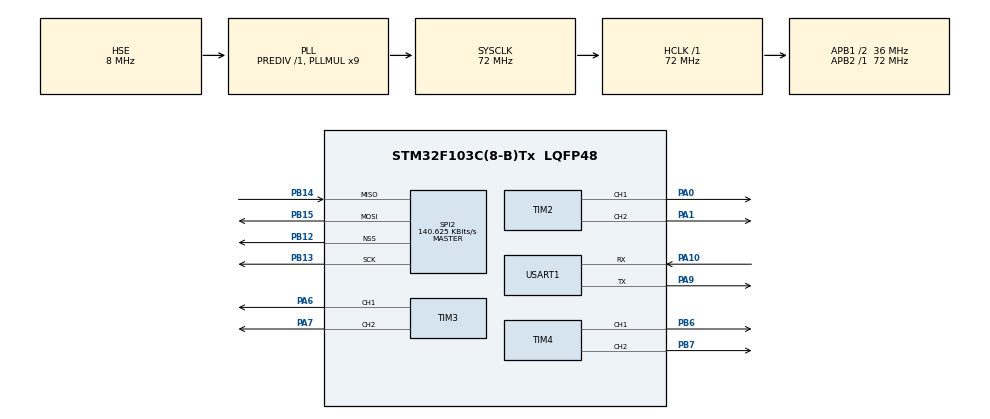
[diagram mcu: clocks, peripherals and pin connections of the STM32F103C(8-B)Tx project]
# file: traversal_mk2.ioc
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Dma.Request0=USART1_RX
Dma.USART1_RX.0.Direction=DMA_PERIPH_TO_MEMORY
Dma.USART1_RX.0.Instance=DMA1_Channel5
Dma.USART1_RX.0.MemDataAlignment=DMA_MDATAALIGN_BYTE
Dma.USART1_RX.0.MemInc=DMA_MINC_ENABLE
Dma.USART1_RX.0.Mode=DMA_CIRCULAR
Dma.USART1_RX.0.PeriphDataAlignment=DMA_PDATAALIGN_BYTE
Dma.USART1_RX.0.PeriphInc=DMA_PINC_DISABLE
Dma.USART1_RX.0.Priority=DMA_PRIORITY_LOW
Mcu.Family=STM32F1
Mcu.Name=STM32F103C(8-B)Tx
Mcu.Package=LQFP48
NVIC.DMA1_Channel5_IRQn=true\:0\:0\:false\:false\:true\:false\:true\:true
NVIC.PriorityGroup=NVIC_PRIORITYGROUP_4
PA0-WKUP.Signal=S_TIM2_CH1_ETR
PA1.Signal=S_TIM2_CH2
PA10.Mode=Asynchronous
PA10.Signal=USART1_RX
PA13.Mode=Serial_Wire
PA13.Signal=SYS_JTMS-SWDIO
PA14.Mode=Serial_Wire
PA14.Signal=SYS_JTCK-SWCLK
PA6.Signal=S_TIM3_CH1
PA7.Signal=S_TIM3_CH2
PA9.Mode=Asynchronous
PA9.Signal=USART1_TX
PB12.Mode=NSS_Signal_Hard_Output
PB12.Signal=SPI2_NSS
PB13.Mode=Full_Duplex_Master
PB13.Signal=SPI2_SCK
PB14.Mode=Full_Duplex_Master
PB14.Signal=SPI2_MISO
PB15.Mode=Full_Duplex_Master
PB15.Signal=SPI2_MOSI
PB6.Signal=S_TIM4_CH1
PB7.Signal=S_TIM4_CH2
PD0-OSC_IN.Mode=HSE-External-Oscillator
PD0-OSC_IN.Signal=RCC_OSC_IN
PD1-OSC_OUT.Mode=HSE-External-Oscillator
PD1-OSC_OUT.Signal=RCC_OSC_OUT
ProjectManager.HeapSize=0x200
ProjectManager.StackSize=0x400
ProjectManager.TargetToolchain=STM32CubeIDE
RCC.AHBFreq_Value=72000000
RCC.APB1CLKDivider=RCC_HCLK_DIV2
RCC.APB1Freq_Value=36000000
RCC.APB1TimFreq_Value=72000000
RCC.APB2Freq_Value=72000000
RCC.APB2TimFreq_Value=72000000
RCC.HCLKFreq_Value=72000000
RCC.PLLMUL=RCC_PLL_MUL9
RCC.PLLSourceVirtual=RCC_PLLSOURCE_HSE
RCC.SYSCLKFreq_VALUE=72000000
RCC.SYSCLKSource=RCC_SYSCLKSOURCE_PLLCLK
RCC.USBFreq_Value=72000000
SH.S_TIM2_CH1_ETR.0=TIM2_CH1,PWM Generation1 CH1
SH.S_TIM2_CH2.0=TIM2_CH2,PWM Generation2 CH2
SH.S_TIM3_CH1.0=TIM3_CH1,PWM Generation1 CH1
SH.S_TIM3_CH2.0=TIM3_CH2,PWM Generation2 CH2
SH.S_TIM4_CH1.0=TIM4_CH1,PWM Generation1 CH1
SH.S_TIM4_CH2.0=TIM4_CH2,PWM Generation2 CH2
SPI2.BaudRatePrescaler=SPI_BAUDRATEPRESCALER_256
SPI2.CalculateBaudRate=140.625 KBits/s
SPI2.DataSize=SPI_DATASIZE_16BIT
SPI2.Direction=SPI_DIRECTION_2LINES
SPI2.Mode=SPI_MODE_MASTER
SPI2.VirtualNSS=VM_NSSHARD
SPI2.VirtualType=VM_MASTER
TIM2.Channel-PWM\ Generation1\ CH1=TIM_CHANNEL_1
TIM2.Channel-PWM\ Generation2\ CH2=TIM_CHANNEL_2
TIM3.Channel-PWM\ Generation1\ CH1=TIM_CHANNEL_1
TIM3.Channel-PWM\ Generation2\ CH2=TIM_CHANNEL_2
TIM4.Channel-PWM\ Generation1\ CH1=TIM_CHANNEL_1
TIM4.Channel-PWM\ Generation2\ CH2=TIM_CHANNEL_2
USART1.VirtualMode=VM_ASYNC
VP_TIM2_VS_ClockSourceINT.Mode=Internal
VP_TIM3_VS_ClockSourceINT.Mode=Internal
VP_TIM4_VS_ClockSourceINT.Mode=Internal
board=custom

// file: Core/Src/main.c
/* USER CODE BEGIN Header */
/**
  ******************************************************************************
  * @file           : main.c
  * @brief          : Main program body
  ******************************************************************************
  * @attention
  *
  * Copyright (c) 2026 STMicroelectronics.
  * All rights reserved.
  *
  * This software is licensed under terms that can be found in the LICENSE file
  * in the root directory of this software component.
  * If no LICENSE file comes with this software, it is provided AS-IS.
  *
  ******************************************************************************
  */
/* USER CODE END Header */
#include "main.h"

SPI_HandleTypeDef hspi2;

TIM_HandleTypeDef htim2;
TIM_HandleTypeDef htim3;
TIM_HandleTypeDef htim4;

UART_HandleTypeDef huart1;
DMA_HandleTypeDef hdma_usart1_rx;

/* USER CODE BEGIN PV */
volatile uint16_t SPI_enc0rxBuffer[3] = {0};
volatile uint16_t SPI_enc1rxBuffer[3] = {0};
volatile uint8_t rxBuf[4];

volatile uint8_t UART1_rxBuffer[4] = {0};
volatile uint8_t uart_rx_dma[4];
volatile uint8_t motor_cmd[4];
/* USER CODE END PV */

void SystemClock_Config(void);
static void MX_GPIO_Init(void);
static void MX_DMA_Init(void);
static void MX_SPI2_Init(void);
static void MX_TIM2_Init(void);
static void MX_TIM3_Init(void);
static void MX_TIM4_Init(void);
static void MX_USART1_UART_Init(void);

/* USER CODE BEGIN 0 */
void setMotor(uint8_t joystick[2]) {
    int x = (int)joystick[0] - 127;
    int y = (int)joystick[1] - 127;

    int speed;

    if (abs(y) > abs(x)) {
        // forward / backward
        speed = 2 * abs(y);

        if (y > 0) {
            // FORWARD
            HAL_GPIO_WritePin(GPIOB, GPIO_PIN_3, GPIO_PIN_RESET);
            HAL_GPIO_WritePin(GPIOB, GPIO_PIN_4, GPIO_PIN_RESET);
            HAL_GPIO_WritePin(GPIOB, GPIO_PIN_5, GPIO_PIN_RESET);

            HAL_GPIO_WritePin(GPIOB, GPIO_PIN_1, GPIO_PIN_RESET);
            HAL_GPIO_WritePin(GPIOB, GPIO_PIN_10, GPIO_PIN_RESET);
            HAL_GPIO_WritePin(GPIOB, GPIO_PIN_11, GPIO_PIN_RESET);
        } else {
            // BACKWARD
            HAL_GPIO_WritePin(GPIOB, GPIO_PIN_3, GPIO_PIN_SET);
            HAL_GPIO_WritePin(GPIOB, GPIO_PIN_4, GPIO_PIN_SET);
            HAL_GPIO_WritePin(GPIOB, GPIO_PIN_5, GPIO_PIN_SET);

            HAL_GPIO_WritePin(GPIOB, GPIO_PIN_1, GPIO_PIN_SET);
            HAL_GPIO_WritePin(GPIOB, GPIO_PIN_10, GPIO_PIN_SET);
            HAL_GPIO_WritePin(GPIOB, GPIO_PIN_11, GPIO_PIN_SET);
        }

    } else if (abs(x) > abs(y)) {
        // rotation
        speed = 2 * abs(x);

        if (x > 0) {
            // rotate right
            HAL_GPIO_WritePin(GPIOB, GPIO_PIN_3, GPIO_PIN_RESET);
            HAL_GPIO_WritePin(GPIOB, GPIO_PIN_4, GPIO_PIN_RESET);
            HAL_GPIO_WritePin(GPIOB, GPIO_PIN_5, GPIO_PIN_RESET);

            HAL_GPIO_WritePin(GPIOB, GPIO_PIN_1, GPIO_PIN_SET);
            HAL_GPIO_WritePin(GPIOB, GPIO_PIN_10, GPIO_PIN_SET);
            HAL_GPIO_WritePin(GPIOB, GPIO_PIN_11, GPIO_PIN_SET);
        } else {
            // rotate left
            HAL_GPIO_WritePin(GPIOB, GPIO_PIN_3, GPIO_PIN_SET);
            HAL_GPIO_WritePin(GPIOB, GPIO_PIN_4, GPIO_PIN_SET);
            HAL_GPIO_WritePin(GPIOB, GPIO_PIN_5, GPIO_PIN_SET);

            HAL_GPIO_WritePin(GPIOB, GPIO_PIN_1, GPIO_PIN_RESET);
            HAL_GPIO_WritePin(GPIOB, GPIO_PIN_10, GPIO_PIN_RESET);
            HAL_GPIO_WritePin(GPIOB, GPIO_PIN_11, GPIO_PIN_RESET);
        }

    } else {
        speed = 0;
    }

    // Left motors (CCR1)
    TIM2->CCR1 = speed;
    TIM3->CCR1 = speed;
    TIM4->CCR1 = speed;

    // Right motors (CCR2)
    TIM2->CCR2 = speed;
    TIM3->CCR2 = speed;
    TIM4->CCR2 = speed;
}

void setMotor_direct(volatile uint8_t cmd[4])
{
    int left_pwm  = cmd[0];  // 0–255
    int left_dir  = cmd[1];  // 0 = forward, 1 = backward
    int right_pwm = cmd[2];  // 0–255
    int right_dir = cmd[3];  // 0 = forward, 1 = backward

    if (left_pwm > 255)  left_pwm = 255;
    if (right_pwm > 255) right_pwm = 255;

    int left_speed  = 2 * left_pwm;
    int right_speed = 2 * right_pwm;

    /* LEFT SIDE DIRECTION (same as setMotor) */
    if (left_dir == 1) {
        HAL_GPIO_WritePin(GPIOB, GPIO_PIN_3, GPIO_PIN_RESET);
        HAL_GPIO_WritePin(GPIOB, GPIO_PIN_4, GPIO_PIN_RESET);
        HAL_GPIO_WritePin(GPIOB, GPIO_PIN_5, GPIO_PIN_RESET);
    } else {
        HAL_GPIO_WritePin(GPIOB, GPIO_PIN_3, GPIO_PIN_SET);
        HAL_GPIO_WritePin(GPIOB, GPIO_PIN_4, GPIO_PIN_SET);
        HAL_GPIO_WritePin(GPIOB, GPIO_PIN_5, GPIO_PIN_SET);
    }

    /* RIGHT SIDE DIRECTION (same as setMotor) */
    if (right_dir == 1) {
        HAL_GPIO_WritePin(GPIOB, GPIO_PIN_1, GPIO_PIN_RESET);
        HAL_GPIO_WritePin(GPIOB, GPIO_PIN_10, GPIO_PIN_RESET);
        HAL_GPIO_WritePin(GPIOB, GPIO_PIN_11, GPIO_PIN_RESET);
    } else {
        HAL_GPIO_WritePin(GPIOB, GPIO_PIN_1, GPIO_PIN_SET);
        HAL_GPIO_WritePin(GPIOB, GPIO_PIN_10, GPIO_PIN_SET);
        HAL_GPIO_WritePin(GPIOB, GPIO_PIN_11, GPIO_PIN_SET);
    }

    /* LEFT MOTORS (CCR1) */
    TIM2->CCR1 = left_speed;
    TIM3->CCR1 = left_speed;
    TIM4->CCR1 = left_speed;

    /* RIGHT MOTORS (CCR2) */
    TIM2->CCR2 = right_speed;
    TIM3->CCR2 = right_speed;
    TIM4->CCR2 = right_speed;
}

/* USER CODE END 0 */

//int main(void)
//{
//
//  /* USER CODE BEGIN 1 */
////
//  /* USER CODE END 1 */
//
//  /* MCU Configuration--------------------------------------------------------*/
//
//  /* Reset of all peripherals, Initializes the Flash interface and the Systick. */
//  HAL_Init();
//
//  /* USER CODE BEGIN Init */
////  uint16_t dummy_tx[3] = {0xFFFF, 0xFFFF, 0xFFFF};
////
//  /* USER CODE END Init */
//
//  /* Configure the system clock */
//  SystemClock_Config();
//
//  /* USER CODE BEGIN SysInit */
////
//  /* USER CODE END SysInit */
//
//  /* Initialize all configured peripherals */
//  MX_GPIO_Init();
//  MX_DMA_Init();
//  MX_SPI2_Init();
//  MX_TIM2_Init();
//  MX_TIM3_Init();
//  MX_TIM4_Init();
//  MX_USART1_UART_Init();
//  /* USER CODE BEGIN 2 */
////  HAL_UART_Receive_DMA(&huart1, UART1_rxBuffer, 4);
////  HAL_GPIO_WritePin(enc0_GPIO_Port, enc0_GPIO_Port, GPIO_PIN_SET);
////  HAL_GPIO_WritePin(enc1_GPIO_Port, enc1_GPIO_Port, GPIO_PIN_SET);
////
//  /* USER CODE END 2 */
//
//  /* Infinite loop */
//  /* USER CODE BEGIN WHILE */
////  while (1)
////  {
//    /* USER CODE END WHILE */
//
//    /* USER CODE BEGIN 3 */
////
////	  setMotor_direct(UART1_rxBuffer);
////
////	  HAL_GPIO_WritePin(enc0_GPIO_Port, enc0_Pin, GPIO_PIN_RESET);
////	  HAL_SPI_TransmitReceive(&hspi2, dummy, (uint8_t *)SPI_enc0rxBuffer, 6, 100);
////	  HAL_GPIO_WritePin(enc0_GPIO_Port, enc0_GPIO_Port, GPIO_PIN_SET);
////
////	  HAL_GPIO_WritePin(enc1_GPIO_Port, enc1_Pin, GPIO_PIN_RESET);
////	  HAL_SPI_TransmitReceive(&hspi2, dummy, (uint8_t *)SPI_enc1rxBuffer, 6, 100);
////	  HAL_GPIO_WritePin(enc1_GPIO_Port, enc1_GPIO_Port, GPIO_PIN_SET);
////  }
//  /* USER CODE END 3 */
//}
int main(void)
{
    HAL_Init();
    SystemClock_Config();

    MX_GPIO_Init();
    MX_SPI2_Init();
    MX_TIM2_Init();
    MX_TIM3_Init();
    MX_TIM4_Init();
    MX_USART1_UART_Init();

    /* ---------- Start PWM ---------- */

    HAL_TIM_PWM_Start(&htim2, TIM_CHANNEL_1);
    HAL_TIM_PWM_Start(&htim2, TIM_CHANNEL_2);
    HAL_TIM_PWM_Start(&htim3, TIM_CHANNEL_1);
    HAL_TIM_PWM_Start(&htim3, TIM_CHANNEL_2);
    HAL_TIM_PWM_Start(&htim4, TIM_CHANNEL_1);
    HAL_TIM_PWM_Start(&htim4, TIM_CHANNEL_2);

    /* ---------- UART DMA ---------- */

    HAL_UART_Receive_DMA(&huart1, uart_rx_dma, 4);

    /* ---------- SPI buffers ---------- */
    uint16_t spi_dummy_tx[3] = {0xFFFF, 0xFFFF, 0xFFFF};

    /* ---------- CS idle high ---------- */
    HAL_GPIO_WritePin(enc0_GPIO_Port, enc0_Pin, GPIO_PIN_SET);
    HAL_GPIO_WritePin(enc1_GPIO_Port, enc1_Pin, GPIO_PIN_SET);

    while (1)
    {
        /* ===== UART → motor command ===== */
//        memcpy(motor_cmd, uart_rx_dma, 4);
//        setMotor_direct(motor_cmd);
    	uint8_t test_cmd[4] = {100, 1, 100, 1}; // forward, medium speed
    	setMotor_direct(test_cmd);
        /* ===== Encoder 0 SPI ===== */
        HAL_GPIO_WritePin(enc0_GPIO_Port, enc0_Pin, GPIO_PIN_RESET);
        __NOP(); __NOP(); __NOP();

        HAL_SPI_TransmitReceive(
            &hspi2,
            spi_dummy_tx,
            SPI_enc0rxBuffer,
            3,          // 3 × 16-bit words
            100
        );

        __NOP(); __NOP(); __NOP();
        HAL_GPIO_WritePin(enc0_GPIO_Port, enc0_Pin, GPIO_PIN_SET);

        /* ===== Encoder 1 SPI ===== */
        HAL_GPIO_WritePin(enc1_GPIO_Port, enc1_Pin, GPIO_PIN_RESET);
        __NOP(); __NOP(); __NOP();

        HAL_SPI_TransmitReceive(
            &hspi2,
            spi_dummy_tx,
            SPI_enc1rxBuffer,
            3,
            100
        );

        __NOP(); __NOP(); __NOP();
        HAL_GPIO_WritePin(enc1_GPIO_Port, enc1_Pin, GPIO_PIN_SET);

        /* Optional small delay */
        // HAL_Delay(1);
    }
}

void SystemClock_Config(void)
{
  RCC_OscInitTypeDef RCC_OscInitStruct = {0};
  RCC_ClkInitTypeDef RCC_ClkInitStruct = {0};

  /** Initializes the RCC Oscillators according to the specified parameters
  * in the RCC_OscInitTypeDef structure.
  */
  RCC_OscInitStruct.OscillatorType = RCC_OSCILLATORTYPE_HSE;
  RCC_OscInitStruct.HSEState = RCC_HSE_ON;
  RCC_OscInitStruct.HSEPredivValue = RCC_HSE_PREDIV_DIV1;
  RCC_OscInitStruct.HSIState = RCC_HSI_ON;
  RCC_OscInitStruct.PLL.PLLState = RCC_PLL_ON;
  RCC_OscInitStruct.PLL.PLLSource = RCC_PLLSOURCE_HSE;
  RCC_OscInitStruct.PLL.PLLMUL = RCC_PLL_MUL9;
  if (HAL_RCC_OscConfig(&RCC_OscInitStruct) != HAL_OK)
  {
    Error_Handler();
  }

  /** Initializes the CPU, AHB and APB buses clocks
  */
  RCC_ClkInitStruct.ClockType = RCC_CLOCKTYPE_HCLK|RCC_CLOCKTYPE_SYSCLK
                              |RCC_CLOCKTYPE_PCLK1|RCC_CLOCKTYPE_PCLK2;
  RCC_ClkInitStruct.SYSCLKSource = RCC_SYSCLKSOURCE_PLLCLK;
  RCC_ClkInitStruct.AHBCLKDivider = RCC_SYSCLK_DIV1;
  RCC_ClkInitStruct.APB1CLKDivider = RCC_HCLK_DIV2;
  RCC_ClkInitStruct.APB2CLKDivider = RCC_HCLK_DIV1;

  if (HAL_RCC_ClockConfig(&RCC_ClkInitStruct, FLASH_LATENCY_2) != HAL_OK)
  {
    Error_Handler();
  }
}

static void MX_SPI2_Init(void)
{

  /* SPI2 parameter configuration*/
  hspi2.Instance = SPI2;
  hspi2.Init.Mode = SPI_MODE_MASTER;
  hspi2.Init.Direction = SPI_DIRECTION_2LINES;
  hspi2.Init.DataSize = SPI_DATASIZE_16BIT;
  hspi2.Init.CLKPolarity = SPI_POLARITY_LOW;
  hspi2.Init.CLKPhase = SPI_PHASE_1EDGE;
  hspi2.Init.NSS = SPI_NSS_HARD_OUTPUT;
  hspi2.Init.BaudRatePrescaler = SPI_BAUDRATEPRESCALER_256;
  hspi2.Init.FirstBit = SPI_FIRSTBIT_MSB;
  hspi2.Init.TIMode = SPI_TIMODE_DISABLE;
  hspi2.Init.CRCCalculation = SPI_CRCCALCULATION_DISABLE;
  hspi2.Init.CRCPolynomial = 10;
  if (HAL_SPI_Init(&hspi2) != HAL_OK)
  {
    Error_Handler();
  }

}

static void MX_TIM2_Init(void)
{

  TIM_ClockConfigTypeDef sClockSourceConfig = {0};
  TIM_MasterConfigTypeDef sMasterConfig = {0};
  TIM_OC_InitTypeDef sConfigOC = {0};

  htim2.Instance = TIM2;
  htim2.Init.Prescaler = 0;
  htim2.Init.CounterMode = TIM_COUNTERMODE_UP;
  htim2.Init.Period = 65535;
  htim2.Init.ClockDivision = TIM_CLOCKDIVISION_DIV1;
  htim2.Init.AutoReloadPreload = TIM_AUTORELOAD_PRELOAD_DISABLE;
  if (HAL_TIM_Base_Init(&htim2) != HAL_OK)
  {
    Error_Handler();
  }
  sClockSourceConfig.ClockSource = TIM_CLOCKSOURCE_INTERNAL;
  if (HAL_TIM_ConfigClockSource(&htim2, &sClockSourceConfig) != HAL_OK)
  {
    Error_Handler();
  }
  if (HAL_TIM_PWM_Init(&htim2) != HAL_OK)
  {
    Error_Handler();
  }
  sMasterConfig.MasterOutputTrigger = TIM_TRGO_RESET;
  sMasterConfig.MasterSlaveMode = TIM_MASTERSLAVEMODE_DISABLE;
  if (HAL_TIMEx_MasterConfigSynchronization(&htim2, &sMasterConfig) != HAL_OK)
  {
    Error_Handler();
  }
  sConfigOC.OCMode = TIM_OCMODE_PWM1;
  sConfigOC.Pulse = 0;
  sConfigOC.OCPolarity = TIM_OCPOLARITY_HIGH;
  sConfigOC.OCFastMode = TIM_OCFAST_DISABLE;
  if (HAL_TIM_PWM_ConfigChannel(&htim2, &sConfigOC, TIM_CHANNEL_1) != HAL_OK)
  {
    Error_Handler();
  }
  if (HAL_TIM_PWM_ConfigChannel(&htim2, &sConfigOC, TIM_CHANNEL_2) != HAL_OK)
  {
    Error_Handler();
  }
  HAL_TIM_MspPostInit(&htim2);

}

static void MX_TIM3_Init(void)
{

  TIM_ClockConfigTypeDef sClockSourceConfig = {0};
  TIM_MasterConfigTypeDef sMasterConfig = {0};
  TIM_OC_InitTypeDef sConfigOC = {0};

  htim3.Instance = TIM3;
  htim3.Init.Prescaler = 0;
  htim3.Init.CounterMode = TIM_COUNTERMODE_UP;
  htim3.Init.Period = 65535;
  htim3.Init.ClockDivision = TIM_CLOCKDIVISION_DIV1;
  htim3.Init.AutoReloadPreload = TIM_AUTORELOAD_PRELOAD_DISABLE;
  if (HAL_TIM_Base_Init(&htim3) != HAL_OK)
  {
    Error_Handler();
  }
  sClockSourceConfig.ClockSource = TIM_CLOCKSOURCE_INTERNAL;
  if (HAL_TIM_ConfigClockSource(&htim3, &sClockSourceConfig) != HAL_OK)
  {
    Error_Handler();
  }
  if (HAL_TIM_PWM_Init(&htim3) != HAL_OK)
  {
    Error_Handler();
  }
  sMasterConfig.MasterOutputTrigger = TIM_TRGO_RESET;
  sMasterConfig.MasterSlaveMode = TIM_MASTERSLAVEMODE_DISABLE;
  if (HAL_TIMEx_MasterConfigSynchronization(&htim3, &sMasterConfig) != HAL_OK)
  {
    Error_Handler();
  }
  sConfigOC.OCMode = TIM_OCMODE_PWM1;
  sConfigOC.Pulse = 0;
  sConfigOC.OCPolarity = TIM_OCPOLARITY_HIGH;
  sConfigOC.OCFastMode = TIM_OCFAST_DISABLE;
  if (HAL_TIM_PWM_ConfigChannel(&htim3, &sConfigOC, TIM_CHANNEL_1) != HAL_OK)
  {
    Error_Handler();
  }
  if (HAL_TIM_PWM_ConfigChannel(&htim3, &sConfigOC, TIM_CHANNEL_2) != HAL_OK)
  {
    Error_Handler();
  }
  HAL_TIM_MspPostInit(&htim3);

}

static void MX_TIM4_Init(void)
{

  TIM_ClockConfigTypeDef sClockSourceConfig = {0};
  TIM_MasterConfigTypeDef sMasterConfig = {0};
  TIM_OC_InitTypeDef sConfigOC = {0};

  htim4.Instance = TIM4;
  htim4.Init.Prescaler = 0;
  htim4.Init.CounterMode = TIM_COUNTERMODE_UP;
  htim4.Init.Period = 65535;
  htim4.Init.ClockDivision = TIM_CLOCKDIVISION_DIV1;
  htim4.Init.AutoReloadPreload = TIM_AUTORELOAD_PRELOAD_DISABLE;
  if (HAL_TIM_Base_Init(&htim4) != HAL_OK)
  {
    Error_Handler();
  }
  sClockSourceConfig.ClockSource = TIM_CLOCKSOURCE_INTERNAL;
  if (HAL_TIM_ConfigClockSource(&htim4, &sClockSourceConfig) != HAL_OK)
  {
    Error_Handler();
  }
  if (HAL_TIM_PWM_Init(&htim4) != HAL_OK)
  {
    Error_Handler();
  }
  sMasterConfig.MasterOutputTrigger = TIM_TRGO_RESET;
  sMasterConfig.MasterSlaveMode = TIM_MASTERSLAVEMODE_DISABLE;
  if (HAL_TIMEx_MasterConfigSynchronization(&htim4, &sMasterConfig) != HAL_OK)
  {
    Error_Handler();
  }
  sConfigOC.OCMode = TIM_OCMODE_PWM1;
  sConfigOC.Pulse = 0;
  sConfigOC.OCPolarity = TIM_OCPOLARITY_HIGH;
  sConfigOC.OCFastMode = TIM_OCFAST_DISABLE;
  if (HAL_TIM_PWM_ConfigChannel(&htim4, &sConfigOC, TIM_CHANNEL_1) != HAL_OK)
  {
    Error_Handler();
  }
  if (HAL_TIM_PWM_ConfigChannel(&htim4, &sConfigOC, TIM_CHANNEL_2) != HAL_OK)
  {
    Error_Handler();
  }
  HAL_TIM_MspPostInit(&htim4);

}

static void MX_USART1_UART_Init(void)
{

  huart1.Instance = USART1;
  huart1.Init.BaudRate = 115200;
  huart1.Init.WordLength = UART_WORDLENGTH_8B;
  huart1.Init.StopBits = UART_STOPBITS_1;
  huart1.Init.Parity = UART_PARITY_NONE;
  huart1.Init.Mode = UART_MODE_TX_RX;
  huart1.Init.HwFlowCtl = UART_HWCONTROL_NONE;
  huart1.Init.OverSampling = UART_OVERSAMPLING_16;
  if (HAL_UART_Init(&huart1) != HAL_OK)
  {
    Error_Handler();
  }

}

static void MX_DMA_Init(void)
{

  /* DMA controller clock enable */
  __HAL_RCC_DMA1_CLK_ENABLE();

  /* DMA interrupt init */
  /* DMA1_Channel5_IRQn interrupt configuration */
  HAL_NVIC_SetPriority(DMA1_Channel5_IRQn, 0, 0);
  HAL_NVIC_EnableIRQ(DMA1_Channel5_IRQn);

}

static void MX_GPIO_Init(void)
{

  /* GPIO Ports Clock Enable */
  __HAL_RCC_GPIOD_CLK_ENABLE();
  __HAL_RCC_GPIOA_CLK_ENABLE();
  __HAL_RCC_GPIOB_CLK_ENABLE();

}

void Error_Handler(void)
{
  __disable_irq();
  while (1)
  {
  }
}
